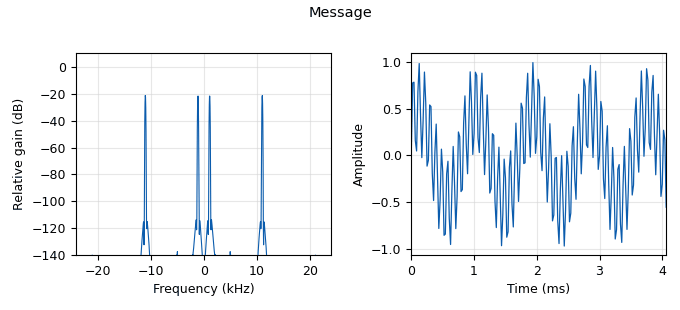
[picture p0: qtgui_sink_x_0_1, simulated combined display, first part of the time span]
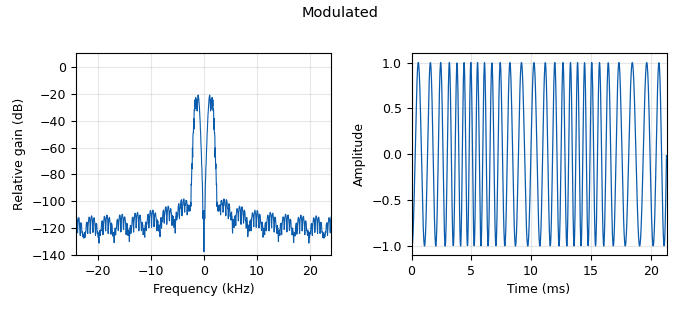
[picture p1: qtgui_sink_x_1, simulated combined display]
options:
  parameters:
    author: sappylappy
    generate_options: qt_gui
    id: TP1
    output_language: python
    title: Not titled yet
  states: {}

blocks:
- name: audio_rate
  id: variable
  parameters:
    value: '48000'
  states: {}
- name: samp_rate
  id: variable
  parameters:
    value: '4800000'
  states: {}
- name: analog_phase_modulator_fc_0
  id: analog_phase_modulator_fc
  parameters:
    sensitivity: 2*3.14*75000
  states: {}
- name: analog_sig_source_x_0
  id: analog_sig_source_x
  parameters:
    amp: '0.5'
    freq: '1100'
    offset: '0'
    phase: '0'
    samp_rate: audio_rate
    type: float
    waveform: analog.GR_COS_WAVE
  states: {}
- name: analog_sig_source_x_1
  id: analog_sig_source_x
  parameters:
    amp: '0.5'
    freq: '11000'
    offset: '0'
    phase: '0'
    samp_rate: audio_rate
    type: float
    waveform: analog.GR_COS_WAVE
  states: {}
- name: analog_sig_source_x_1_0
  id: analog_sig_source_x
  parameters:
    amp: '1'
    freq: '100000'
    offset: '0'
    phase: '0'
    samp_rate: samp_rate
    type: complex
    waveform: analog.GR_COS_WAVE
  states: {}
- name: blocks_add_xx_1
  id: blocks_add_xx
  parameters:
    type: float
  states: {}
- name: blocks_complex_to_real_0
  id: blocks_complex_to_real
  parameters: {}
  states: {}
- name: blocks_multiply_xx_0
  id: blocks_multiply_xx
  parameters:
    type: complex
  states: {}
- name: blocks_throttle2_0
  id: blocks_throttle2
  parameters:
    samples_per_second: audio_rate
    type: float
  states: {}
- name: blocks_throttle2_1
  id: blocks_throttle2
  parameters:
    samples_per_second: audio_rate
    type: complex
  states: {}
- name: iir_filter_xxx_0
  id: iir_filter_xxx
  parameters:
    fbtaps: '[1,1]'
    fftaps: '[0,1/audio_rate]'
    type: ffd
  states: {}
- name: qtgui_sink_x_0_1
  id: qtgui_sink_x
  parameters:
    bw: audio_rate
    fc: '0'
    fftsize: '1024'
    gui_hint: tab@0
    name: Message
    type: float
  states: {}
- name: qtgui_sink_x_1
  id: qtgui_sink_x
  parameters:
    bw: audio_rate
    fc: '0'
    fftsize: '1024'
    gui_hint: tab@1
    name: Modulated
    type: float
  states: {}
- name: rational_resampler_xxx_0
  id: rational_resampler_xxx
  parameters:
    decim: audio_rate
    interp: samp_rate
    taps: ''
    type: fff
  states: {}
- name: tab
  id: qtgui_tab_widget
  parameters:
    label0: Message
    label1: Modulated
    num_tabs: '2'
  states: {}

connections:
- [analog_phase_modulator_fc_0, '0', blocks_multiply_xx_0, '0']
- [analog_sig_source_x_0, '0', blocks_add_xx_1, '0']
- [analog_sig_source_x_1, '0', blocks_add_xx_1, '1']
- [analog_sig_source_x_1_0, '0', blocks_multiply_xx_0, '1']
- [blocks_add_xx_1, '0', blocks_throttle2_0, '0']
- [blocks_add_xx_1, '0', iir_filter_xxx_0, '0']
- [blocks_complex_to_real_0, '0', qtgui_sink_x_1, '0']
- [blocks_multiply_xx_0, '0', blocks_throttle2_1, '0']
- [blocks_throttle2_0, '0', qtgui_sink_x_0_1, '0']
- [blocks_throttle2_1, '0', blocks_complex_to_real_0, '0']
- [iir_filter_xxx_0, '0', rational_resampler_xxx_0, '0']
- [rational_resampler_xxx_0, '0', analog_phase_modulator_fc_0, '0']

metadata:
  file_format: 1
  grc_version: 3.10.9.2
